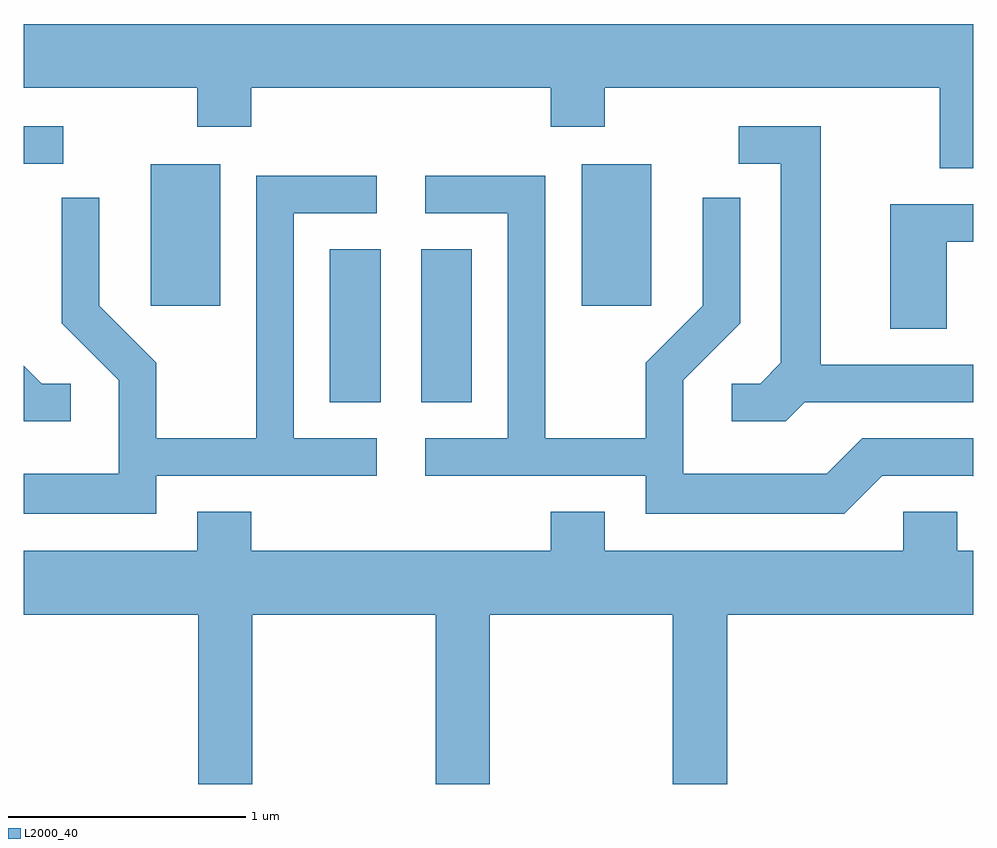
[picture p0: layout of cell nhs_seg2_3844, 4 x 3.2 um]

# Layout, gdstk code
import gdstk
lib = gdstk.Library(unit=1e-6, precision=1e-09)
def R(c, l, rs):  # rectangles x0, y0, x1, y1
    for r in rs: c.add(gdstk.rectangle(r[:2], r[2:], *l))
def P(c, l, *ps):  # polygons
    for p in ps: c.add(gdstk.Polygon(p, *l))
L2000_40 = (2000, 40)

nhs_seg2_3844 = lib.new_cell('nhs_seg2_3844')
R(nhs_seg2_3844, L2000_40, [(298.901,1071.411,299.114,1072.054), (299.286,1071.411,299.499,1072.054), (298.146,1071.816,298.439,1072.414), (299.961,1071.816,300.254,1072.414), (297.611,1072.416,297.778,1072.574)])
P(nhs_seg2_3844, L2000_40, [(301.611,1073.004),(297.611,1073.004),(297.611,1072.736),(298.341,1072.736),(298.341,1072.571),(298.569,1072.571),(298.569,1072.736),(299.831,1072.736),(299.831,1072.571),(300.059,1072.571),(300.059,1072.736),(301.471,1072.736),(301.471,1072.396),(301.611,1072.396)],
  [(300.902,1071.411),(301.611,1071.411),(301.611,1071.569),(300.969,1071.569),(300.969,1072.574),(300.623,1072.574),(300.623,1072.416),(300.801,1072.416),(300.801,1071.577),(300.714,1071.489),(300.593,1071.489),(300.593,1071.331),(300.822,1071.331)],
  [(298.169,1071.101),(299.098,1071.101),(299.098,1071.259),(298.749,1071.259),(298.749,1072.206),(299.098,1072.206),(299.098,1072.364),(298.591,1072.364),(298.591,1071.259),(298.169,1071.259),(298.169,1071.577),(297.929,1071.817),(297.929,1072.273),(297.771,1072.273),(297.771,1071.744),(298.011,1071.504),(298.011,1071.109),(297.611,1071.109),(297.611,1070.941),(298.169,1070.941)],
  [(301.227,1071.101),(301.609,1071.101),(301.611,1071.099),(301.611,1071.259),(301.144,1071.259),(300.994,1071.109),(300.389,1071.109),(300.389,1071.504),(300.629,1071.744),(300.629,1072.273),(300.471,1072.273),(300.471,1071.817),(300.231,1071.577),(300.231,1071.259),(299.809,1071.259),(299.809,1072.364),(299.303,1072.364),(299.303,1072.206),(299.651,1072.206),(299.651,1071.259),(299.303,1071.259),(299.303,1071.101),(300.231,1071.101),(300.231,1070.941),(301.067,1070.941)],
  [(301.499,1072.086),(301.611,1072.086),(301.611,1072.244),(301.261,1072.244),(301.261,1071.721),(301.499,1071.721)],
  [(297.808,1071.489),(297.687,1071.489),(297.611,1071.565),(297.611,1071.331),(297.808,1071.331)],
  [(298.574,1070.516),(299.346,1070.516),(299.346,1069.802),(299.574,1069.802),(299.574,1070.516),(300.346,1070.516),(300.346,1069.802),(300.574,1069.802),(300.574,1070.516),(301.611,1070.516),(301.611,1070.784),(301.544,1070.784),(301.544,1070.949),(301.316,1070.949),(301.316,1070.784),(300.059,1070.784),(300.059,1070.949),(299.831,1070.949),(299.831,1070.784),(298.569,1070.784),(298.569,1070.949),(298.341,1070.949),(298.341,1070.784),(297.611,1070.784),(297.611,1070.516),(298.346,1070.516),(298.346,1069.802),(298.574,1069.802)])

lib.write_gds('nhs_seg2_3844.gds')
